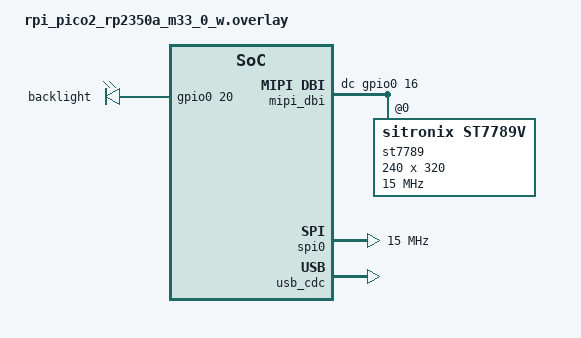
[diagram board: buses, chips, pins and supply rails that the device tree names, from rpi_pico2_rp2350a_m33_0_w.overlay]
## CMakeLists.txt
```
cmake_minimum_required(VERSION 3.20.0)
find_package(Zephyr REQUIRED HINTS $ENV{ZEPHYR_BASE})
project(framebuf)
target_sources(app PRIVATE src/main.c)
```

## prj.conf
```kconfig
# NOTE: must fit 320x240x2   wait 153600?
#
CONFIG_GPIO=y
CONFIG_PWM=y
CONFIG_SPI=y
CONFIG_HEAP_MEM_POOL_SIZE=65536
CONFIG_MAIN_STACK_SIZE=4096

CONFIG_LOG=y
CONFIG_DISPLAY=y
CONFIG_ST7789V=y
CONFIG_MIPI_DBI=y
CONFIG_MIPI_DBI_SPI=y


CONFIG_LVGL=y
# 20% of 240 is 48 rows
CONFIG_LV_Z_VDB_SIZE=20
CONFIG_LV_Z_MEM_POOL_SIZE=32678
CONFIG_LV_USE_IMAGE=y
CONFIG_LV_USE_LABEL=y
CONFIG_LV_COLOR_16_SWAP=y
CONFIG_LV_FONT_MONTSERRAT_14=n
CONFIG_LV_FONT_MONTSERRAT_24=y
CONFIG_LV_FONT_DEFAULT_MONTSERRAT_24=y
CONFIG_LV_USE_LOG=y
CONFIG_LV_USE_ST7789=y


CONFIG_USB_DEVICE_STACK=y
CONFIG_USB_DEVICE_PRODUCT="Zephyr Weather Station"
CONFIG_USB_CDC_ACM=y
CONFIG_USB_DEVICE_INITIALIZE_AT_BOOT=y
CONFIG_CONSOLE=y
CONFIG_SERIAL=y
```

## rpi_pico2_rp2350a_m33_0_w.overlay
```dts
#include <zephyr/dt-bindings/display/panel.h>

/ {
    chosen {
        zephyr,display = &st7789;
        zephyr,console = &usb_cdc;
    };

    aliases {
        backlight = &backlight;
    };

    leds {
        // TODO: RGB are GP26-28, BL is GP20
        compatible = "gpio-leds";
        // label: node name
        backlight: backlight-led {
            gpios = <&gpio0 20 GPIO_ACTIVE_HIGH>;
        };
    };

    pwmleds {
        compatible = "pwm-leds";
    };

    mipi_dbi {
        compatible      = "zephyr,mipi-dbi-spi";
        spi-dev         = <&spi0>;
        dc-gpios        = <&gpio0 16 GPIO_ACTIVE_HIGH>;
        //te-gpios        = <&gpio0 21>;
        write-only;
        #address-cells  = <1>;
        #size-cells     = <0>;

        st7789: st7789@0 {
            compatible          = "sitronix,st7789v";
            mipi-max-frequency  = <15000000>;
            reg                 = <0>;      // Uses cs-gpios[0]
            // https://shop.pimoroni.com/products/pico-display-pack-2-8?variant=42047194005587
            // https://cdn.shopify.com/s/files/1/0174/1800/files/pico_display_2_8_schematic.pdf?v=1728314048
            // https://docs.zephyrproject.org/latest/build/dts/api/bindings/display/sitronix%2Cst7789v.html
            // https://github.com/pimoroni/pimoroni-pico/blob/main/drivers/st7789/st7789.cpp
            // https://github.com/zephyrproject-rtos/zephyr/blob/9da1b3cba1a2a8a448c8650fb30b38b570a9b9de/boards/fanke/fk750m1_vbt6/fk750m1_vbt6.dts#L23
            x-offset    = <0>;
            y-offset    = <0>;
            width       = <240>;
            height      = <320>;
            gctrl       = <0x35>; // Gate control
            vcom        = <0x1f>; // VCOM Setting
            pvgam-param = [D0 08 11 08 0C 15 39 33 50 36 13 14 29 2D];
            nvgam-param = [D0 08 10 08 06 06 39 44 51 0B 16 14 2F 31];
            // TODO: te-on -> likely not supported by driver
            /* Byte-swapped RGB565 (was CONFIG_ST7789V_BGR565 + colmod before Zephyr 4.5). */
            pixel-format = <PANEL_PIXEL_FORMAT_RGB_565X>;

            porch-param = [0c 0c 00 33 33];
            lcm         = <0x2c>;
            // vdvvrhen 0x01 - maybe set by driver?
            vrhs = <0x12>;
            vdvs = <0x20>;
            pwctrl1-param = [a4 a1];
            // these commands are copied from random 240x240 board
            mdac = <0x00>;
            gamma = <0x01>;
            cmd2en-param = [5a 69 02 01];
            ram-param = [00 F0]; // seen also f8
            rgb-param = [CD 08 14];
            mipi-mode = "MIPI_DBI_MODE_SPI_4WIRE";

            // Rotation is not supported by driver
            //rotation            = <90>;     // Default, portait 240x320, 90 landscape ...
            status              = "okay";
        };

    };
};

&spi0 {
    status          = "okay";
    clock-frequency = <15000000>;
    // Note: multiple devices can have CS pins configured here, separated by ","
    // They are referenced via reg=<n>;
    cs-gpios        = <&gpio0 17 GPIO_ACTIVE_LOW>;
};

&zephyr_udc0 {
    usb_cdc: usb_cdc_0 {
        compatible = "zephyr,cdc-acm-uart";
    };
};
```

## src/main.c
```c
#include <zephyr/kernel.h>
#include <zephyr/device.h>
#include <zephyr/drivers/display.h>
#include <lvgl.h>
#include <zephyr/logging/log.h>
#include <zephyr/drivers/gpio.h>
#include "holedna_r.h"

// https://docs.lvgl.io/master/details/main-modules/image.html

LOG_MODULE_REGISTER(main, LOG_LEVEL_INF);

int main(void) {
    LOG_INF("Starting LVGL example");

    /* Backlight on */
    const struct gpio_dt_spec backlight_led = GPIO_DT_SPEC_GET(DT_ALIAS(backlight), gpios);
    if (!gpio_is_ready_dt(&backlight_led)) {
        LOG_ERR("LED GPIO not ready.");
        return -1;
    }
    gpio_pin_configure_dt(&backlight_led, GPIO_OUTPUT_ACTIVE);
    gpio_pin_set_dt(&backlight_led, 1);
    
    /* Get display device */
    const struct device *display_dev;
    display_dev = DEVICE_DT_GET(DT_CHOSEN(zephyr_display));
    if (!device_is_ready(display_dev)) {
        LOG_ERR("Display device not ready");
        return -1;
    }
    LOG_INF("Display device ready");

    display_blanking_off(display_dev);

    /* Set background color */
    lv_obj_set_style_bg_color(lv_screen_active(), lv_color_hex(0x000000), LV_PART_MAIN);

    LV_IMAGE_DECLARE(holedna_r);
    lv_obj_t* wp_img = lv_image_create(lv_screen_active());
    lv_image_set_src(wp_img, &holedna_r);
    lv_obj_align(wp_img, LV_ALIGN_CENTER, 0, 0);

    LOG_INF("LVGL widgets created");

    /* Main loop */
    while (1) {
        lv_timer_handler();
        k_msleep(10);
    }

    return 0;
}

/* vim: set expandtab shiftwidth=4 softtabstop=4 tabstop=4 : */
```
